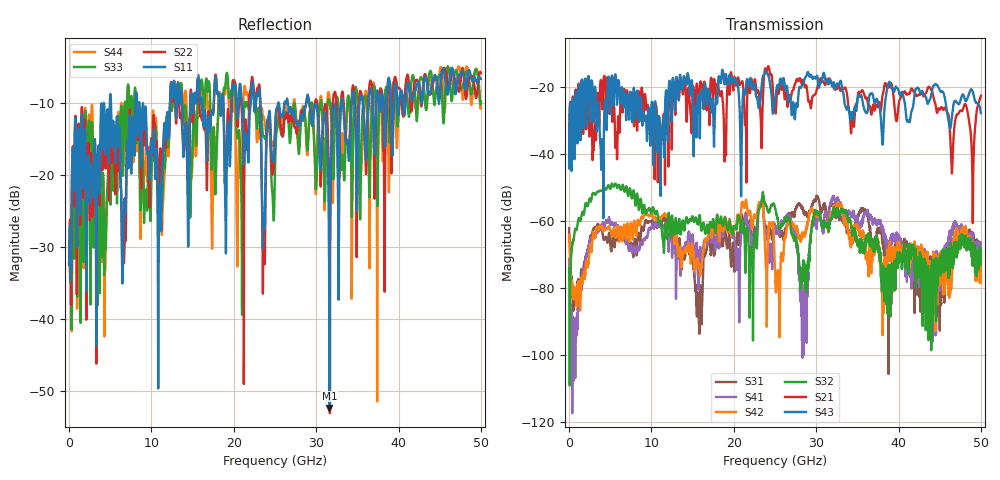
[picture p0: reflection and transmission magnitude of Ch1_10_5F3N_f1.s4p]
!Agilent Technologies,N5247A,US51170199,A.09.90.13
!Agilent N5247A: A.09.90.13
!Date: Wednesday, December 09, 2015 09:45:38
!Correction: S11(Full 4 Port(1,2,3,4))
!S12(Full 4 Port(1,2,3,4))
!S13(Full 4 Port(1,2,3,4))
!S14(Full 4 Port(1,2,3,4))
!S21(Full 4 Port(1,2,3,4))
!S22(Full 4 Port(1,2,3,4))
!S23(Full 4 Port(1,2,3,4))
!S24(Full 4 Port(1,2,3,4))
!S31(Full 4 Port(1,2,3,4))
!S32(Full 4 Port(1,2,3,4))
!S33(Full 4 Port(1,2,3,4))
!S34(Full 4 Port(1,2,3,4))
!S41(Full 4 Port(1,2,3,4))
!S42(Full 4 Port(1,2,3,4))
!S43(Full 4 Port(1,2,3,4))
!S44(Full 4 Port(1,2,3,4))
!S4P File: Measurements: <S11,S12,S13,S14>,
!<S21,S22,S23,S24>,
!<S31,S32,S33,S34>,
!<S41,S42,S43,S44>:
# Hz S  dB  R 50
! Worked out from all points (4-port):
!   3201 points, 10 MHz to 50 GHz, reference 50 ohm
!   strongest paths, dB at 10 MHz, 12.51 GHz, 25 GHz, 37.5 GHz, 50 GHz:
!     S43: -44.2, -20.8, -23.7, -24.6, -27.7
!     S21: -43.3, -28.2, -25.1, -25.9, -22.5
!     S32: -74.0, -58.4, -56.0, -67.8, -72.9
!     S42: -65.3, -61.9, -74.1, -66.0, -78.3
!     S41: -71.3, -70.8, -61.6, -60.5, -66.9
!     S31: -62.1, -60.8, -62.4, -62.5, -71.2
!   lowest |S11| = -52.4 dB at 31.61 GHz (marker M1), VSWR 1.00, Z = 50.2 + j0.161 ohm
!   |S11| at or under -10 dB: start of sweep to 4.953 GHz; 8.533 GHz to 12.26 GHz (3.729 GHz wide, 35.9 % of centre); 29.15 GHz to 33.05 GHz (3.904 GHz wide, 12.6 % of centre)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
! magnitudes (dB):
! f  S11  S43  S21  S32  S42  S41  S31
! 10 MHz  -32.5  -44.2  -43.3  -74.0  -65.3  -71.3  -62.1
! 5.4 GHz  -12.7  -24.6  -24.6  -49.7  -62.5  -61.1  -65.7
! 23.35 GHz  -18.5  -20.7  -35.9  -54.6  -54.6  -55.1  -54.6
! 25.35 GHz  -10.3  -19.5  -21.0  -59.3  -75.0  -61.5  -62.4
! 28.63 GHz  -10.6  -17.3  -19.9  -75.2  -63.5  -80.9  -58.2
! 31.61 GHz  -52.4  -18.2  -17.3  -61.5  -60.7  -56.6  -56.4
! 50 GHz  -6.7  -27.7  -22.5  -72.9  -78.3  -66.9  -71.2
